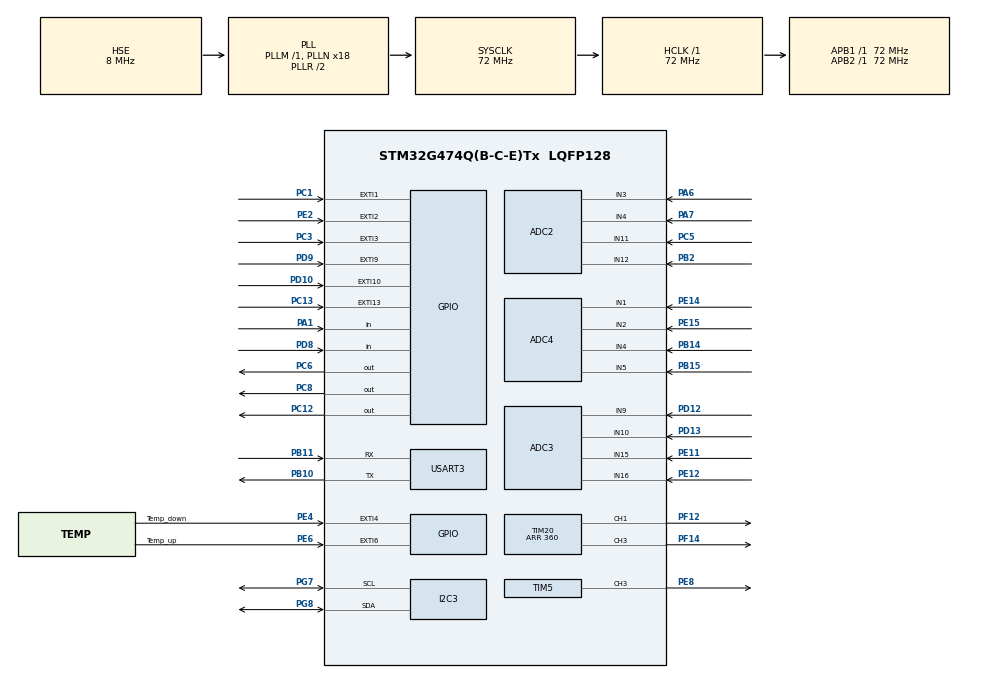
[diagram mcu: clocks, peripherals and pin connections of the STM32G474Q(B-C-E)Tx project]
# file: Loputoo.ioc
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ADC2.Channel-5\#ChannelRegularConversion=ADC_CHANNEL_11
ADC2.Channel-7\#ChannelRegularConversion=ADC_CHANNEL_3
ADC2.ContinuousConvMode=DISABLE
ADC2.DiscontinuousConvMode=ENABLE
ADC2.EnableRegularConversion=ENABLE
ADC2.NbrOfConversion=2
ADC2.NbrOfConversionFlag=1
ADC2.OffsetNumber-5\#ChannelRegularConversion=ADC_OFFSET_NONE
ADC2.OffsetNumber-7\#ChannelRegularConversion=ADC_OFFSET_NONE
ADC2.Rank-5\#ChannelRegularConversion=1
ADC2.Rank-7\#ChannelRegularConversion=2
ADC2.SamplingTime-5\#ChannelRegularConversion=ADC_SAMPLETIME_247CYCLES_5
ADC2.SamplingTime-7\#ChannelRegularConversion=ADC_SAMPLETIME_247CYCLES_5
ADC2.SingleDiff-5\#ChannelRegularConversion=ADC_DIFFERENTIAL_ENDED
ADC2.SingleDiff-7\#ChannelRegularConversion=ADC_DIFFERENTIAL_ENDED
ADC3.Channel-1\#ChannelRegularConversion=ADC_CHANNEL_15
ADC3.Channel-2\#ChannelRegularConversion=ADC_CHANNEL_15
ADC3.ContinuousConvMode=DISABLE
ADC3.DiscontinuousConvMode=ENABLE
ADC3.NbrOfConversion=2
ADC3.NbrOfConversionFlag=1
ADC3.OffsetNumber-1\#ChannelRegularConversion=ADC_OFFSET_NONE
ADC3.OffsetNumber-2\#ChannelRegularConversion=ADC_OFFSET_NONE
ADC3.Rank-1\#ChannelRegularConversion=1
ADC3.Rank-2\#ChannelRegularConversion=2
ADC3.SamplingTime-1\#ChannelRegularConversion=ADC_SAMPLETIME_247CYCLES_5
ADC3.SamplingTime-2\#ChannelRegularConversion=ADC_SAMPLETIME_247CYCLES_5
ADC3.SingleDiff-1\#ChannelRegularConversion=ADC_DIFFERENTIAL_ENDED
ADC3.SingleDiff-2\#ChannelRegularConversion=ADC_DIFFERENTIAL_ENDED
ADC3.master=1
ADC4.Channel-0\#ChannelRegularConversion=ADC_CHANNEL_1
ADC4.Channel-1\#ChannelRegularConversion=ADC_CHANNEL_4
ADC4.DiscontinuousConvMode=ENABLE
ADC4.NbrOfConversion=2
ADC4.NbrOfConversionFlag=1
ADC4.OffsetNumber-0\#ChannelRegularConversion=ADC_OFFSET_NONE
ADC4.OffsetNumber-1\#ChannelRegularConversion=ADC_OFFSET_NONE
ADC4.Rank-0\#ChannelRegularConversion=1
ADC4.Rank-1\#ChannelRegularConversion=2
ADC4.SamplingTime-0\#ChannelRegularConversion=ADC_SAMPLETIME_247CYCLES_5
ADC4.SamplingTime-1\#ChannelRegularConversion=ADC_SAMPLETIME_247CYCLES_5
ADC4.SingleDiff-0\#ChannelRegularConversion=ADC_DIFFERENTIAL_ENDED
ADC4.SingleDiff-1\#ChannelRegularConversion=ADC_DIFFERENTIAL_ENDED
I2C3.Timing=0x10C18DCC
Mcu.Family=STM32G4
Mcu.Name=STM32G474Q(B-C-E)Tx
Mcu.Package=LQFP128
NVIC.ADC1_2_IRQn=true\:0\:0\:false\:false\:true\:true\:true\:true
NVIC.EXTI15_10_IRQn=true\:0\:0\:false\:false\:true\:true\:true\:true
NVIC.EXTI2_IRQn=true\:0\:0\:false\:false\:true\:true\:true\:true
NVIC.EXTI4_IRQn=true\:0\:0\:false\:false\:true\:true\:true\:true
NVIC.EXTI9_5_IRQn=true\:0\:0\:false\:false\:true\:true\:true\:true
NVIC.PriorityGroup=NVIC_PRIORITYGROUP_4
NVIC.TIM3_IRQn=true\:0\:0\:false\:false\:true\:true\:true\:true
PA1.Signal=GPIO_Input
PA13.Mode=JTAG_5_pins
PA13.Signal=SYS_JTMS-SWDIO
PA14.Mode=JTAG_5_pins
PA14.Signal=SYS_JTCK-SWCLK
PA15.Mode=JTAG_5_pins
PA15.Signal=SYS_JTDI
PA6.Mode=IN3-Differential
PA6.Signal=ADC2_IN3
PA7.Mode=IN3-Differential
PA7.Signal=ADC2_IN4
PB10.Mode=Asynchronous
PB10.Signal=USART3_TX
PB11.Mode=Asynchronous
PB11.Signal=USART3_RX
PB14.Mode=IN4-Differential
PB14.Signal=ADC4_IN4
PB15.Mode=IN4-Differential
PB15.Signal=ADC4_IN5
PB2.Mode=IN11-Differential
PB2.Signal=ADC2_IN12
PB3.Mode=JTAG_5_pins
PB3.Signal=SYS_JTDO-SWO
PB4.Mode=JTAG_5_pins
PB4.Signal=SYS_JTRST
PB8-BOOT0.Signal=EVENTOUT
PC1.Signal=GPXTI1
PC12.Signal=GPIO_Output
PC13.Signal=GPXTI13
PC3.Signal=GPXTI3
PC5.Mode=IN11-Differential
PC5.Signal=ADC2_IN11
PC6.Signal=GPIO_Output
PC8.Signal=GPIO_Output
PD10.Signal=GPXTI10
PD12.Mode=IN9-Single-Ended
PD12.Signal=ADC3_IN9
PD13.Mode=IN10-Single-Ended
PD13.Signal=ADC3_IN10
PD8.Signal=GPIO_Input
PD9.Signal=GPXTI9
PE11.Mode=IN15-Differential
PE11.Signal=ADC3_IN15
PE12.Mode=IN15-Differential
PE12.Signal=ADC3_IN16
PE14.Mode=IN1-Differential
PE14.Signal=ADC4_IN1
PE15.Mode=IN1-Differential
PE15.Signal=ADC4_IN2
PE2.GPIO_ModeDefaultEXTI=GPIO_MODE_IT_FALLING
PE2.GPIO_PuPd=GPIO_NOPULL
PE2.Signal=GPXTI2
PE4.GPIO_Label=Temp_down
PE4.Signal=GPXTI4
PE6.GPIO_Label=Temp_up
PE6.Signal=GPXTI6
PE8.Signal=S_TIM5_CH3
PF0-OSC_IN.Mode=HSE-External-Oscillator
PF0-OSC_IN.Signal=RCC_OSC_IN
PF1-OSC_OUT.Mode=HSE-External-Oscillator
PF1-OSC_OUT.Signal=RCC_OSC_OUT
PF12.Signal=S_TIM20_CH1
PF14.Signal=S_TIM20_CH3
PG10-NRST.Signal=EVENTOUT
PG7.Mode=I2C
PG7.Signal=I2C3_SCL
PG8.Mode=I2C
PG8.Signal=I2C3_SDA
ProjectManager.HeapSize=0x200
ProjectManager.StackSize=0x400
ProjectManager.TargetToolchain=STM32CubeIDE
RCC.ADC12Freq_Value=72000000
RCC.ADC345Freq_Value=72000000
RCC.AHBFreq_Value=72000000
RCC.APB1Freq_Value=72000000
RCC.APB1TimFreq_Value=72000000
RCC.APB2Freq_Value=72000000
RCC.APB2TimFreq_Value=72000000
RCC.CortexFreq_Value=72000000
RCC.EXTERNAL_CLOCK_VALUE=12288000
RCC.HCLKFreq_Value=72000000
RCC.HSE_VALUE=8000000
RCC.HSI48_VALUE=48000000
RCC.HSI_VALUE=16000000
RCC.LSE_VALUE=32768
RCC.PLLN=18
RCC.PLLSourceVirtual=RCC_PLLSOURCE_HSE
RCC.SYSCLKFreq_VALUE=72000000
RCC.SYSCLKSource=RCC_SYSCLKSOURCE_PLLCLK
RCC.USBFreq_Value=72000000
RCC.VCOOutputFreq_Value=144000000
SH.S_TIM20_CH1.0=TIM20_CH1,PWM Generation1 CH1
SH.S_TIM20_CH3.0=TIM20_CH3,PWM Generation3 CH3
SH.S_TIM5_CH3.0=TIM5_CH3,PWM Generation3 CH3
TIM1.Prescaler=71
TIM20.Channel-PWM\ Generation1\ CH1=TIM_CHANNEL_1
TIM20.Channel-PWM\ Generation3\ CH3=TIM_CHANNEL_3
TIM20.CounterMode=TIM_COUNTERMODE_CENTERALIGNED3
TIM20.OCPolarity_3=TIM_OCPOLARITY_HIGH
TIM20.PeriodNoDither=360
TIM20.PulseNoDither_1=0
TIM20.PulseNoDither_3=0
TIM20.TIM_MasterOutputTrigger=TIM_TRGO_RESET
TIM20.TIM_MasterOutputTrigger2=TIM_TRGO2_RESET
TIM20.TIM_MasterSlaveMode=TIM_MASTERSLAVEMODE_DISABLE
TIM3.PeriodNoDither=7199
TIM3.Prescaler=999
TIM4.PeriodNoDither=35
TIM4.TIM_MasterSlaveMode=TIM_MASTERSLAVEMODE_ENABLE
TIM5.Channel-PWM\ Generation3\ CH3=TIM_CHANNEL_3
TIM5.CounterMode=TIM_COUNTERMODE_CENTERALIGNED3
TIM5.OCPolarity_3=TIM_OCPOLARITY_LOW
TIM5.PeriodNoDither=360
USART3.VirtualMode-Asynchronous=VM_ASYNC
VP_SYS_VS_DBSignals.Mode=DisableDeadBatterySignals
VP_TIM1_VS_ClockSourceINT.Mode=Internal
VP_TIM20_VS_ClockSourceINT.Mode=Internal
VP_TIM20_VS_ClockSourceITR.Mode=TriggerSource_ITR3
VP_TIM20_VS_ControllerModeTrigger.Mode=Trigger Mode
VP_TIM2_VS_ClockSourceINT.Mode=Internal
VP_TIM3_VS_ClockSourceINT.Mode=Internal
VP_TIM4_VS_ClockSourceINT.Mode=Internal
VP_TIM5_VS_ClockSourceINT.Mode=Internal
VP_TIM5_VS_ClockSourceITR.Mode=TriggerSource_ITR3
VP_TIM5_VS_ControllerModeTrigger.Mode=Trigger Mode
board=custom

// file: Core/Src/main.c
/* USER CODE BEGIN Header */
/**
  ******************************************************************************
  * @file           : main.c
  * @brief          : Main program body
  ******************************************************************************
  * @attention
  *
  * Copyright (c) 2025 STMicroelectronics.
  * All rights reserved.
  *
  * This software is licensed under terms that can be found in the LICENSE file
  * in the root directory of this software component.
  * If no LICENSE file comes with this software, it is provided AS-IS.
  *
  ******************************************************************************
  */
/* USER CODE END Header */
#include "main.h"

/* USER CODE BEGIN Includes */
#include <stdio.h>
#include <math.h>
#include "../../ECUAL/I2C_LCD/I2C_LCD.h"

#include <string.h>

/* USER CODE END Includes */

/* USER CODE BEGIN PTD */
enum KettleState {
	KETTLE_IDLE,
	KETTLE_TURN_ON,
	KETTLE_TURN_OFF,
	KETTLE_TEST
};

int setTemp = 85;

int dutyCycleFixedSSCB = 0;
int dutyCycleFixedHighSide = 0;
int dutyCycleFixedLowSide = 360;
uint16_t dutyCycleValue = 0;
int deadTimeARR = 0;
enum KettleState stateKettle = KETTLE_IDLE;
/* USER CODE END PTD */

/* USER CODE BEGIN PD */
#define MyI2C_LCD I2C_LCD_1
/* USER CODE END PD */

/* USER CODE BEGIN PM */
#define HALL_MAX_LEN 14
/* USER CODE END PM */

ADC_HandleTypeDef hadc2;
ADC_HandleTypeDef hadc3;
ADC_HandleTypeDef hadc4;

I2C_HandleTypeDef hi2c3;

TIM_HandleTypeDef htim1;
TIM_HandleTypeDef htim2;
TIM_HandleTypeDef htim3;
TIM_HandleTypeDef htim4;
TIM_HandleTypeDef htim5;
TIM_HandleTypeDef htim20;

UART_HandleTypeDef huart3;

void SystemClock_Config(void);
static void MX_GPIO_Init(void);
static void MX_ADC2_Init(void);
static void MX_ADC3_Init(void);
static void MX_ADC4_Init(void);
static void MX_TIM3_Init(void);
static void MX_TIM5_Init(void);
static void MX_TIM20_Init(void);
static void MX_TIM1_Init(void);
static void MX_I2C3_Init(void);
static void MX_USART3_UART_Init(void);
static void MX_TIM4_Init(void);
static void MX_TIM2_Init(void);

/* USER CODE BEGIN 0 */
void delay_us (uint16_t us)
{
	__HAL_TIM_SET_COUNTER(&htim1,0);  // set the counter value a 0
	while (__HAL_TIM_GET_COUNTER(&htim1) < us);  // wait for the counter to reach the us input in the parameter
}
/* USER CODE END 0 */

int main(void)
{

  /* USER CODE BEGIN 1 */

 uint16_t duty_c;
 uint16_t encADC2_1;
 uint16_t encADC2_2;

 uint16_t encADC3_1;
 uint16_t encADC3_2;

 uint16_t encADC4_1;
  uint16_t encADC4_2;

 char buffer1[HALL_MAX_LEN];
 char buffer2[HALL_MAX_LEN];

 char vDiv1Text[HALL_MAX_LEN];
 char vDiv2Text[HALL_MAX_LEN];
 char tempKettleText[HALL_MAX_LEN];
 char setTempText[HALL_MAX_LEN];

 char hall1Text[HALL_MAX_LEN];
 char hall2Text[HALL_MAX_LEN];
 float inputVoltage = 0;
 int counter = 1;

 float hall1CurrentValue = 0;
 float hall1CurrentTotal = 0;
 float hall1CurrentAverage = 0;

 float hall2CurrentValue = 0;
 float hall2CurrentTotal = 0;
 float hall2CurrentAverage = 0;

 float vDiv1Average = 0;
 float vDiv1Total = 0;

 float vDiv2Voltage = 0;
 float vDiv2VoltageTotal = 0;
 float vDiv2VoltageAverage = 0;

 //float vDiv3Voltage;
 //float vDiv3VoltageTotal = 0;
 //float vDiv3VoltageAverage = 0;

 float total = 0;
 float average = 0;

 int totalADC = 0;
 int averageADC = 0;

 float tempKettleSteinhart = 0;
 float tempKettle = 0;
 float resistanceKettle = 0;
 float thermistorVoltage = 0;
 float resistanceThermistor = 0;
 float outputVoltage = 0;

 float steinhartA = 1.086 * pow(10, -3);
 float steinhartB = 2.421 * pow(10, -4);
 float steinhartC = 0.495 * pow(10, -7);

 float dutyCyclePcnt = 0;

  /* USER CODE END 1 */

  /* MCU Configuration--------------------------------------------------------*/

  /* Reset of all peripherals, Initializes the Flash interface and the Systick. */
  HAL_Init();

  /* Configure the system clock */
  SystemClock_Config();

  /* Initialize all configured peripherals */
  MX_GPIO_Init();
  MX_ADC2_Init();
  MX_ADC3_Init();
  MX_ADC4_Init();
  MX_TIM3_Init();
  MX_TIM5_Init();
  MX_TIM20_Init();
  MX_TIM1_Init();
  MX_I2C3_Init();
  MX_USART3_UART_Init();
  MX_TIM4_Init();
  MX_TIM2_Init();
  I2C_LCD_Init(MyI2C_LCD);
  /* USER CODE BEGIN 2 */
  //HAL_ADC_Start_IT (&hadc1);

HAL_TIM_PWM_Start(&htim5, TIM_CHANNEL_3); // CONVERTER SECONDARY MOSFET PWM
HAL_TIM_PWM_Start(&htim20, TIM_CHANNEL_3); // CONVERTER MAIN MOSFET PWM
HAL_TIM_PWM_Start(&htim20, TIM_CHANNEL_1); //SSCB MOSFET PWM
HAL_TIM_Base_Start(&htim1);
HAL_TIM_Base_Start_IT(&htim3);

HAL_ADCEx_Calibration_Start(&hadc2, ADC_DIFFERENTIAL_ENDED);
HAL_ADCEx_Calibration_Start(&hadc3, ADC_DIFFERENTIAL_ENDED);
HAL_ADCEx_Calibration_Start(&hadc4, ADC_DIFFERENTIAL_ENDED);
  /* USER CODE END 2 */

  /* Infinite loop */
  /* USER CODE BEGIN WHILE */
  while (1)
  {

	  switch(stateKettle)
	  {
	  	  case(KETTLE_IDLE):
	  			I2C_LCD_Clear(MyI2C_LCD);
				HAL_Delay(200);

	  			sprintf(setTempText, "%d", setTemp);

	  			I2C_LCD_SetCursor(MyI2C_LCD, 0, 0);
	  			I2C_LCD_WriteString(MyI2C_LCD, "IDLE");

	  			I2C_LCD_SetCursor(MyI2C_LCD, 0, 1);
	  			I2C_LCD_WriteString(MyI2C_LCD, setTempText);

				HAL_Delay(200);
	  		  	break;

	  	  case(KETTLE_TURN_ON):

	  		  	I2C_LCD_Clear(MyI2C_LCD);
	  		  	I2C_LCD_SetCursor(MyI2C_LCD, 0, 1);
	  		  	I2C_LCD_WriteString(MyI2C_LCD, "TURN ON");

	  		  	HAL_GPIO_WritePin(GPIOC, GPIO_PIN_8, GPIO_PIN_SET);

			  	HAL_GPIO_WritePin(GPIOC, GPIO_PIN_6, GPIO_PIN_SET);
			  	// TURNS ON RELAY

			  	// 2 SECONDS FOR PRECHARGE
			  	HAL_Delay(2000);
	  			I2C_LCD_Clear(MyI2C_LCD);
			  	I2C_LCD_SetCursor(MyI2C_LCD, 0, 0);
			  	I2C_LCD_WriteString(MyI2C_LCD, "SSCB");

			  	HAL_GPIO_WritePin(GPIOC, GPIO_PIN_8, GPIO_PIN_RESET);
			  	dutyCycleFixedSSCB = 360;
			  	// TURNS ON SSCB MOSFET
			  	HAL_Delay(2000);

	  			I2C_LCD_Clear(MyI2C_LCD);
			  	I2C_LCD_SetCursor(MyI2C_LCD, 0, 0);
			  	I2C_LCD_WriteString(MyI2C_LCD, "RELOFF");

			  	HAL_GPIO_WritePin(GPIOC, GPIO_PIN_8, GPIO_PIN_SET);
			  	HAL_GPIO_WritePin(GPIOC, GPIO_PIN_6, GPIO_PIN_RESET);

			  	HAL_Delay(2000);

	  			I2C_LCD_Clear(MyI2C_LCD);
			  	I2C_LCD_SetCursor(MyI2C_LCD, 0, 0);
			  	I2C_LCD_WriteString(MyI2C_LCD, "GoTest1");
			  	HAL_GPIO_WritePin(GPIOC, GPIO_PIN_8, GPIO_PIN_RESET);

				deadTimeARR = 12;
				dutyCycleValue = 0;

				if(stateKettle != KETTLE_TURN_OFF)
				{
					stateKettle = KETTLE_TEST;
				}

				break;

	  	  case(KETTLE_TURN_OFF):
				if(dutyCycleValue > 360)
				{
					// PREVENTS DUTY CYCLE VALUE FROM BEING ABOVE MAX
					dutyCycleValue = 360;
				}
				while(dutyCycleValue > 0)
				{
					delay_us(10);

					// CYCLE FOR DECREASING DUTY CYCLE
					  if(dutyCycleValue > 0)
					  {
						  dutyCycleValue--;
					  }

					  // IF DUTY CYCLE IS 0, BREAK
					  else
					  {
						  break;
					  }

				  }

				  vDiv1Total = 0;
				  totalADC = 0;
				  total = 0;
				  counter = 1;
				  hall2CurrentTotal = 0;
				  hall1CurrentTotal = 0;
				  vDiv2VoltageTotal = 0;
				  dutyCycleFixedSSCB = 0;
				  stateKettle = KETTLE_IDLE;
				  break;

	  	  case(KETTLE_TEST):

					  // VOLTAGE CALCULATION FOR VDIV1
					  HAL_ADC_Start(&hadc2);
					  HAL_ADC_PollForConversion(&hadc2, 100);
					  encADC2_1 = HAL_ADC_GetValue(&hadc2);
					  HAL_ADC_Start(&hadc2);
					  HAL_ADC_PollForConversion(&hadc2, 100);
					  encADC2_2 = HAL_ADC_GetValue(&hadc2);
					  HAL_ADC_Stop(&hadc2);

					  inputVoltage = (((encADC2_1 - 2048) * 9) / 25.0f);
					  // CALCULATES INPUT VOLTAGE VALUE USING DIFF ADC INPUT
					  inputVoltage = inputVoltage + 0.05 * inputVoltage;
					  // VALUE CORRECTION
					  vDiv1Total = vDiv1Total + inputVoltage;
					  // INCREASES COUNTER FOR TOTAL VOLTAGE, USED FOR CALCULATING AVERAGE
					  if ((counter % 30) == 0)
					  {
						  vDiv1Average = vDiv1Total / 30.0f;
						  vDiv1Total = 0;

						  gcvt(vDiv1Average, 4, vDiv1Text);

						  if (vDiv1Average < 1)
						  {
							  dutyCycleValue = 360;
							  HAL_GPIO_TogglePin(GPIOC, GPIO_PIN_8);

						  }

						  else
						  {
							  dutyCycleValue = ((230 / vDiv1Average) * 360) * 1.1;
							  HAL_GPIO_TogglePin(GPIOC, GPIO_PIN_8);
						  }

					  }

				  	  // VOLTAGE CALCULATOR FOR VDIV2
				  	  HAL_ADC_Start(&hadc4);
				 	  HAL_ADC_PollForConversion(&hadc4, 100);
				 	  encADC4_1 = HAL_ADC_GetValue(&hadc4);
				 	  HAL_ADC_Start(&hadc4);
				 	  HAL_ADC_PollForConversion(&hadc4, 100);
				 	  encADC4_2 = HAL_ADC_GetValue(&hadc4);
				 	  HAL_ADC_Stop(&hadc4);

				  	  vDiv2Voltage = ((encADC4_1 - 2048) / 2048.0) * 3.3 * 2.5 * 61;
				  	  // CALCULATE VDIV2 VOLTAGE USING ADC INPUT
				  	  vDiv2VoltageTotal = vDiv2VoltageTotal + vDiv2Voltage;
				  	  if ((counter % 30) == 0)
				  		  {
				  			  vDiv2VoltageAverage = vDiv2VoltageTotal / 30.0f;
				  			  vDiv2VoltageTotal = 0;

				  			  sprintf(buffer1, "%d", encADC4_1);

				  			  gcvt(vDiv2VoltageAverage, 4, vDiv2Text);

				  		  }

				  	hall1CurrentValue = -0.029 * encADC2_2 + 29.6713;

				  	hall1CurrentTotal = hall1CurrentTotal + hall1CurrentValue;
				  	if ((counter % 30) == 0)
				  	{
				  		hall1CurrentAverage = hall1CurrentTotal / 30.0f;
				  		hall1CurrentTotal = 0;

				  				  		if (hall1CurrentAverage > 4)
				  				  		{

				  				  		  	stateKettle = KETTLE_TURN_OFF;
				  				  		  	counter = 1;
				  				  		  	break;
				  				  		}

				  		gcvt(hall1CurrentAverage, 3, hall1Text);

				  	}

				  	hall2CurrentValue = -0.0296 * encADC4_2 + 30.2033;
				  	hall2CurrentTotal = hall2CurrentTotal + hall2CurrentValue;
				  	if ((counter % 30) == 0)
				  	{
				  		hall2CurrentAverage = hall2CurrentTotal / 30.0f;
				  		hall2CurrentTotal = 0;

				  				  		if (hall2CurrentAverage > 7)
				  				  		{
				  				  			// IF KETTLE CURRENT IS ABOVE MAX VALUE, TURN OFF KETTLE

				  				  		  	stateKettle = KETTLE_TURN_OFF;
				  				  		  	counter = 1;
				  				  		  	// RESET COUNTER VALUE TO 1
				  							break;
				  				  		}

				  		gcvt(hall2CurrentAverage, 3, hall2Text);
				  	}

					  	HAL_ADC_Start(&hadc3);
					  	HAL_ADC_PollForConversion(&hadc3, 100);
					  	encADC3_1 = HAL_ADC_GetValue(&hadc3);
					  	HAL_ADC_Start(&hadc3);
					  	HAL_ADC_PollForConversion(&hadc3, 100);
					  	encADC3_2 = HAL_ADC_GetValue(&hadc3);
					  	HAL_ADC_Stop(&hadc3);

					  	// TEMP SENSOR CALCULATIONS
					  	outputVoltage = vDiv2VoltageAverage;
					  	//resistanceKettle = (1986 * 230 * 150) / ((encADC3_2 - 1986) * 3.3 * 2.5);
					  	thermistorVoltage = ((encADC3_2 - 2048.0) / 2048.0) * 3.3 * 2.5;
					  	resistanceThermistor = (thermistorVoltage * 585000) / (vDiv2VoltageAverage - thermistorVoltage);
					  	total = total + resistanceThermistor;

					  	totalADC = totalADC + encADC3_2;
					  	if ((counter % 30) == 0)
					  	{
					  		if(total < 0)
					  		{
					  			total = 0;
					  		}

					  		average = total / 30.0f;

					  		tempKettleSteinhart = 1 / (steinhartA + steinhartB * log(average) + steinhartC * pow(log(average), 3)) - 273;
					  		tempKettle = (-0.01584 * pow(tempKettleSteinhart, 2) + 3.279 * tempKettleSteinhart - 45.31);

					  		averageADC = totalADC / 30;
					  		sprintf(buffer2, "%d", encADC3_2);
					  		totalADC = 0;

					  		gcvt(tempKettle, 3, tempKettleText);
					  		total = 0;

					  		if(tempKettle >= setTemp && (hall2CurrentAverage >= 0.5))
					  		{
					  			stateKettle = KETTLE_TURN_OFF;
					  		}

					  	}

					  	if ((counter % 30) == 0)
					  	{
					  		gcvt(hall2CurrentAverage, 3, hall2Text);
					  				  		// CHANGE FLOAT TO CHAR FOR LCD PRINT
				  			I2C_LCD_Clear(MyI2C_LCD);
				  			  I2C_LCD_SetCursor(MyI2C_LCD, 0, 0);
				  			  I2C_LCD_WriteString(MyI2C_LCD, setTempText);
				  			  I2C_LCD_SetCursor(MyI2C_LCD, 8, 0);
				  			  I2C_LCD_WriteString(MyI2C_LCD, vDiv2Text);
				  			I2C_LCD_SetCursor(MyI2C_LCD, 0, 1);
				  			I2C_LCD_WriteString(MyI2C_LCD, tempKettleText);
				  			I2C_LCD_SetCursor(MyI2C_LCD, 8, 1);
				  			I2C_LCD_WriteString(MyI2C_LCD, hall2Text);

					  	}

					  counter++;
					  HAL_Delay(10);
				break;
	  	  }

    /* USER CODE END WHILE */

  }
}

void SystemClock_Config(void)
{
  RCC_OscInitTypeDef RCC_OscInitStruct = {0};
  RCC_ClkInitTypeDef RCC_ClkInitStruct = {0};

  /** Configure the main internal regulator output voltage
  */
  HAL_PWREx_ControlVoltageScaling(PWR_REGULATOR_VOLTAGE_SCALE1);

  /** Initializes the RCC Oscillators according to the specified parameters
  * in the RCC_OscInitTypeDef structure.
  */
  RCC_OscInitStruct.OscillatorType = RCC_OSCILLATORTYPE_HSE;
  RCC_OscInitStruct.HSEState = RCC_HSE_ON;
  RCC_OscInitStruct.PLL.PLLState = RCC_PLL_ON;
  RCC_OscInitStruct.PLL.PLLSource = RCC_PLLSOURCE_HSE;
  RCC_OscInitStruct.PLL.PLLM = RCC_PLLM_DIV1;
  RCC_OscInitStruct.PLL.PLLN = 18;
  RCC_OscInitStruct.PLL.PLLP = RCC_PLLP_DIV2;
  RCC_OscInitStruct.PLL.PLLQ = RCC_PLLQ_DIV2;
  RCC_OscInitStruct.PLL.PLLR = RCC_PLLR_DIV2;
  if (HAL_RCC_OscConfig(&RCC_OscInitStruct) != HAL_OK)
  {
    Error_Handler();
  }

  /** Initializes the CPU, AHB and APB buses clocks
  */
  RCC_ClkInitStruct.ClockType = RCC_CLOCKTYPE_HCLK|RCC_CLOCKTYPE_SYSCLK
                              |RCC_CLOCKTYPE_PCLK1|RCC_CLOCKTYPE_PCLK2;
  RCC_ClkInitStruct.SYSCLKSource = RCC_SYSCLKSOURCE_PLLCLK;
  RCC_ClkInitStruct.AHBCLKDivider = RCC_SYSCLK_DIV1;
  RCC_ClkInitStruct.APB1CLKDivider = RCC_HCLK_DIV1;
  RCC_ClkInitStruct.APB2CLKDivider = RCC_HCLK_DIV1;

  if (HAL_RCC_ClockConfig(&RCC_ClkInitStruct, FLASH_LATENCY_2) != HAL_OK)
  {
    Error_Handler();
  }
}

static void MX_ADC2_Init(void)
{

  ADC_ChannelConfTypeDef sConfig = {0};

  /** Common config
  */
  hadc2.Instance = ADC2;
  hadc2.Init.ClockPrescaler = ADC_CLOCK_SYNC_PCLK_DIV2;
  hadc2.Init.Resolution = ADC_RESOLUTION_12B;
  hadc2.Init.DataAlign = ADC_DATAALIGN_RIGHT;
  hadc2.Init.GainCompensation = 0;
  hadc2.Init.ScanConvMode = ADC_SCAN_ENABLE;
  hadc2.Init.EOCSelection = ADC_EOC_SINGLE_CONV;
  hadc2.Init.LowPowerAutoWait = DISABLE;
  hadc2.Init.ContinuousConvMode = DISABLE;
  hadc2.Init.NbrOfConversion = 2;
  hadc2.Init.DiscontinuousConvMode = ENABLE;
  hadc2.Init.NbrOfDiscConversion = 1;
  hadc2.Init.ExternalTrigConv = ADC_SOFTWARE_START;
  hadc2.Init.ExternalTrigConvEdge = ADC_EXTERNALTRIGCONVEDGE_NONE;
  hadc2.Init.DMAContinuousRequests = DISABLE;
  hadc2.Init.Overrun = ADC_OVR_DATA_PRESERVED;
  hadc2.Init.OversamplingMode = DISABLE;
  if (HAL_ADC_Init(&hadc2) != HAL_OK)
  {
    Error_Handler();
  }

  /** Configure Regular Channel
  */
  sConfig.Channel = ADC_CHANNEL_11;
  sConfig.Rank = ADC_REGULAR_RANK_1;
  sConfig.SamplingTime = ADC_SAMPLETIME_247CYCLES_5;
  sConfig.SingleDiff = ADC_DIFFERENTIAL_ENDED;
  sConfig.OffsetNumber = ADC_OFFSET_NONE;
  sConfig.Offset = 0;
  if (HAL_ADC_ConfigChannel(&hadc2, &sConfig) != HAL_OK)
  {
    Error_Handler();
  }

  /** Configure Regular Channel
  */
  sConfig.Channel = ADC_CHANNEL_3;
  sConfig.Rank = ADC_REGULAR_RANK_2;
  if (HAL_ADC_ConfigChannel(&hadc2, &sConfig) != HAL_OK)
  {
    Error_Handler();
  }

}

static void MX_ADC3_Init(void)
{

  ADC_MultiModeTypeDef multimode = {0};
  ADC_ChannelConfTypeDef sConfig = {0};

  /** Common config
  */
  hadc3.Instance = ADC3;
  hadc3.Init.ClockPrescaler = ADC_CLOCK_SYNC_PCLK_DIV2;
  hadc3.Init.Resolution = ADC_RESOLUTION_12B;
  hadc3.Init.DataAlign = ADC_DATAALIGN_RIGHT;
  hadc3.Init.GainCompensation = 0;
  hadc3.Init.ScanConvMode = ADC_SCAN_ENABLE;
  hadc3.Init.EOCSelection = ADC_EOC_SINGLE_CONV;
  hadc3.Init.LowPowerAutoWait = DISABLE;
  hadc3.Init.ContinuousConvMode = DISABLE;
  hadc3.Init.NbrOfConversion = 2;
  hadc3.Init.DiscontinuousConvMode = ENABLE;
  hadc3.Init.NbrOfDiscConversion = 1;
  hadc3.Init.ExternalTrigConv = ADC_SOFTWARE_START;
  hadc3.Init.ExternalTrigConvEdge = ADC_EXTERNALTRIGCONVEDGE_NONE;
  hadc3.Init.DMAContinuousRequests = DISABLE;
  hadc3.Init.Overrun = ADC_OVR_DATA_PRESERVED;
  hadc3.Init.OversamplingMode = DISABLE;
  if (HAL_ADC_Init(&hadc3) != HAL_OK)
  {
    Error_Handler();
  }

  /** Configure the ADC multi-mode
  */
  multimode.Mode = ADC_MODE_INDEPENDENT;
  if (HAL_ADCEx_MultiModeConfigChannel(&hadc3, &multimode) != HAL_OK)
  {
    Error_Handler();
  }

  /** Configure Regular Channel
  */
  sConfig.Channel = ADC_CHANNEL_15;
  sConfig.Rank = ADC_REGULAR_RANK_1;
  sConfig.SamplingTime = ADC_SAMPLETIME_247CYCLES_5;
  sConfig.SingleDiff = ADC_DIFFERENTIAL_ENDED;
  sConfig.OffsetNumber = ADC_OFFSET_NONE;
  sConfig.Offset = 0;
  if (HAL_ADC_ConfigChannel(&hadc3, &sConfig) != HAL_OK)
  {
    Error_Handler();
  }

  /** Configure Regular Channel
  */
  sConfig.Rank = ADC_REGULAR_RANK_2;
  if (HAL_ADC_ConfigChannel(&hadc3, &sConfig) != HAL_OK)
  {
    Error_Handler();
  }

}

static void MX_ADC4_Init(void)
{

  ADC_ChannelConfTypeDef sConfig = {0};

  /** Common config
  */
  hadc4.Instance = ADC4;
  hadc4.Init.ClockPrescaler = ADC_CLOCK_SYNC_PCLK_DIV2;
  hadc4.Init.Resolution = ADC_RESOLUTION_12B;
  hadc4.Init.DataAlign = ADC_DATAALIGN_RIGHT;
  hadc4.Init.GainCompensation = 0;
  hadc4.Init.ScanConvMode = ADC_SCAN_ENABLE;
  hadc4.Init.EOCSelection = ADC_EOC_SINGLE_CONV;
  hadc4.Init.LowPowerAutoWait = DISABLE;
  hadc4.Init.ContinuousConvMode = DISABLE;
  hadc4.Init.NbrOfConversion = 2;
  hadc4.Init.DiscontinuousConvMode = ENABLE;
  hadc4.Init.NbrOfDiscConversion = 1;
  hadc4.Init.ExternalTrigConv = ADC_SOFTWARE_START;
  hadc4.Init.ExternalTrigConvEdge = ADC_EXTERNALTRIGCONVEDGE_NONE;
  hadc4.Init.DMAContinuousRequests = DISABLE;
  hadc4.Init.Overrun = ADC_OVR_DATA_PRESERVED;
  hadc4.Init.OversamplingMode = DISABLE;
  if (HAL_ADC_Init(&hadc4) != HAL_OK)
  {
    Error_Handler();
  }

  /** Configure Regular Channel
  */
  sConfig.Channel = ADC_CHANNEL_1;
  sConfig.Rank = ADC_REGULAR_RANK_1;
  sConfig.SamplingTime = ADC_SAMPLETIME_247CYCLES_5;
  sConfig.SingleDiff = ADC_DIFFERENTIAL_ENDED;
  sConfig.OffsetNumber = ADC_OFFSET_NONE;
  sConfig.Offset = 0;
  if (HAL_ADC_ConfigChannel(&hadc4, &sConfig) != HAL_OK)
  {
    Error_Handler();
  }

  /** Configure Regular Channel
  */
  sConfig.Channel = ADC_CHANNEL_4;
  sConfig.Rank = ADC_REGULAR_RANK_2;
  if (HAL_ADC_ConfigChannel(&hadc4, &sConfig) != HAL_OK)
  {
    Error_Handler();
  }

}

static void MX_I2C3_Init(void)
{

  hi2c3.Instance = I2C3;
  hi2c3.Init.Timing = 0x10C18DCC;
  hi2c3.Init.OwnAddress1 = 0;
  hi2c3.Init.AddressingMode = I2C_ADDRESSINGMODE_7BIT;
  hi2c3.Init.DualAddressMode = I2C_DUALADDRESS_DISABLE;
  hi2c3.Init.OwnAddress2 = 0;
  hi2c3.Init.OwnAddress2Masks = I2C_OA2_NOMASK;
  hi2c3.Init.GeneralCallMode = I2C_GENERALCALL_DISABLE;
  hi2c3.Init.NoStretchMode = I2C_NOSTRETCH_DISABLE;
  if (HAL_I2C_Init(&hi2c3) != HAL_OK)
  {
    Error_Handler();
  }

  /** Configure Analogue filter
  */
  if (HAL_I2CEx_ConfigAnalogFilter(&hi2c3, I2C_ANALOGFILTER_ENABLE) != HAL_OK)
  {
    Error_Handler();
  }

  /** Configure Digital filter
  */
  if (HAL_I2CEx_ConfigDigitalFilter(&hi2c3, 0) != HAL_OK)
  {
    Error_Handler();
  }

}

static void MX_TIM1_Init(void)
{

  TIM_ClockConfigTypeDef sClockSourceConfig = {0};
  TIM_MasterConfigTypeDef sMasterConfig = {0};

  htim1.Instance = TIM1;
  htim1.Init.Prescaler = 71;
  htim1.Init.CounterMode = TIM_COUNTERMODE_UP;
  htim1.Init.Period = 65535;
  htim1.Init.ClockDivision = TIM_CLOCKDIVISION_DIV1;
  htim1.Init.RepetitionCounter = 0;
  htim1.Init.AutoReloadPreload = TIM_AUTORELOAD_PRELOAD_DISABLE;
  if (HAL_TIM_Base_Init(&htim1) != HAL_OK)
  {
    Error_Handler();
  }
  sClockSourceConfig.ClockSource = TIM_CLOCKSOURCE_INTERNAL;
  if (HAL_TIM_ConfigClockSource(&htim1, &sClockSourceConfig) != HAL_OK)
  {
    Error_Handler();
  }
  sMasterConfig.MasterOutputTrigger = TIM_TRGO_RESET;
  sMasterConfig.MasterOutputTrigger2 = TIM_TRGO2_RESET;
  sMasterConfig.MasterSlaveMode = TIM_MASTERSLAVEMODE_DISABLE;
  if (HAL_TIMEx_MasterConfigSynchronization(&htim1, &sMasterConfig) != HAL_OK)
  {
    Error_Handler();
  }

}

static void MX_TIM2_Init(void)
{

  TIM_ClockConfigTypeDef sClockSourceConfig = {0};
  TIM_MasterConfigTypeDef sMasterConfig = {0};

  htim2.Instance = TIM2;
  htim2.Init.Prescaler = 0;
  htim2.Init.CounterMode = TIM_COUNTERMODE_UP;
  htim2.Init.Period = 4294967295;
  htim2.Init.ClockDivision = TIM_CLOCKDIVISION_DIV1;
  htim2.Init.AutoReloadPreload = TIM_AUTORELOAD_PRELOAD_DISABLE;
  if (HAL_TIM_Base_Init(&htim2) != HAL_OK)
  {
    Error_Handler();
  }
  sClockSourceConfig.ClockSource = TIM_CLOCKSOURCE_INTERNAL;
  if (HAL_TIM_ConfigClockSource(&htim2, &sClockSourceConfig) != HAL_OK)
  {
    Error_Handler();
  }
  sMasterConfig.MasterOutputTrigger = TIM_TRGO_RESET;
  sMasterConfig.MasterSlaveMode = TIM_MASTERSLAVEMODE_DISABLE;
  if (HAL_TIMEx_MasterConfigSynchronization(&htim2, &sMasterConfig) != HAL_OK)
  {
    Error_Handler();
  }

}

static void MX_TIM3_Init(void)
{

  TIM_ClockConfigTypeDef sClockSourceConfig = {0};
  TIM_MasterConfigTypeDef sMasterConfig = {0};

  htim3.Instance = TIM3;
  htim3.Init.Prescaler = 999;
  htim3.Init.CounterMode = TIM_COUNTERMODE_UP;
  htim3.Init.Period = 7199;
  htim3.Init.ClockDivision = TIM_CLOCKDIVISION_DIV1;
  htim3.Init.AutoReloadPreload = TIM_AUTORELOAD_PRELOAD_DISABLE;
  if (HAL_TIM_Base_Init(&htim3) != HAL_OK)
  {
    Error_Handler();
  }
  sClockSourceConfig.ClockSource = TIM_CLOCKSOURCE_INTERNAL;
  if (HAL_TIM_ConfigClockSource(&htim3, &sClockSourceConfig) != HAL_OK)
  {
    Error_Handler();
  }
  sMasterConfig.MasterOutputTrigger = TIM_TRGO_RESET;
  sMasterConfig.MasterSlaveMode = TIM_MASTERSLAVEMODE_DISABLE;
  if (HAL_TIMEx_MasterConfigSynchronization(&htim3, &sMasterConfig) != HAL_OK)
  {
    Error_Handler();
  }

}

static void MX_TIM4_Init(void)
{

  TIM_ClockConfigTypeDef sClockSourceConfig = {0};
  TIM_MasterConfigTypeDef sMasterConfig = {0};

  htim4.Instance = TIM4;
  htim4.Init.Prescaler = 0;
  htim4.Init.CounterMode = TIM_COUNTERMODE_UP;
  htim4.Init.Period = 35;
  htim4.Init.ClockDivision = TIM_CLOCKDIVISION_DIV1;
  htim4.Init.AutoReloadPreload = TIM_AUTORELOAD_PRELOAD_DISABLE;
  if (HAL_TIM_Base_Init(&htim4) != HAL_OK)
  {
    Error_Handler();
  }
  sClockSourceConfig.ClockSource = TIM_CLOCKSOURCE_INTERNAL;
  if (HAL_TIM_ConfigClockSource(&htim4, &sClockSourceConfig) != HAL_OK)
  {
    Error_Handler();
  }
  sMasterConfig.MasterOutputTrigger = TIM_TRGO_RESET;
  sMasterConfig.MasterSlaveMode = TIM_MASTERSLAVEMODE_ENABLE;
  if (HAL_TIMEx_MasterConfigSynchronization(&htim4, &sMasterConfig) != HAL_OK)
  {
    Error_Handler();
  }

}

static void MX_TIM5_Init(void)
{

  TIM_ClockConfigTypeDef sClockSourceConfig = {0};
  TIM_SlaveConfigTypeDef sSlaveConfig = {0};
  TIM_MasterConfigTypeDef sMasterConfig = {0};
  TIM_OC_InitTypeDef sConfigOC = {0};

  htim5.Instance = TIM5;
  htim5.Init.Prescaler = 0;
  htim5.Init.CounterMode = TIM_COUNTERMODE_CENTERALIGNED3;
  htim5.Init.Period = 360;
  htim5.Init.ClockDivision = TIM_CLOCKDIVISION_DIV1;
  htim5.Init.AutoReloadPreload = TIM_AUTORELOAD_PRELOAD_DISABLE;
  if (HAL_TIM_Base_Init(&htim5) != HAL_OK)
  {
    Error_Handler();
  }
  sClockSourceConfig.ClockSource = TIM_CLOCKSOURCE_INTERNAL;
  if (HAL_TIM_ConfigClockSource(&htim5, &sClockSourceConfig) != HAL_OK)
  {
    Error_Handler();
  }
  if (HAL_TIM_PWM_Init(&htim5) != HAL_OK)
  {
    Error_Handler();
  }
  sSlaveConfig.SlaveMode = TIM_SLAVEMODE_TRIGGER;
  sSlaveConfig.InputTrigger = TIM_TS_ITR3;
  if (HAL_TIM_SlaveConfigSynchro(&htim5, &sSlaveConfig) != HAL_OK)
  {
    Error_Handler();
  }
  sMasterConfig.MasterOutputTrigger = TIM_TRGO_RESET;
  sMasterConfig.MasterSlaveMode = TIM_MASTERSLAVEMODE_DISABLE;
  if (HAL_TIMEx_MasterConfigSynchronization(&htim5, &sMasterConfig) != HAL_OK)
  {
    Error_Handler();
  }
  sConfigOC.OCMode = TIM_OCMODE_PWM1;
  sConfigOC.Pulse = 0;
  sConfigOC.OCPolarity = TIM_OCPOLARITY_LOW;
  sConfigOC.OCFastMode = TIM_OCFAST_DISABLE;
  if (HAL_TIM_PWM_ConfigChannel(&htim5, &sConfigOC, TIM_CHANNEL_3) != HAL_OK)
  {
    Error_Handler();
  }
  HAL_TIM_MspPostInit(&htim5);

}

static void MX_TIM20_Init(void)
{

  TIM_ClockConfigTypeDef sClockSourceConfig = {0};
  TIM_SlaveConfigTypeDef sSlaveConfig = {0};
  TIM_MasterConfigTypeDef sMasterConfig = {0};
  TIM_OC_InitTypeDef sConfigOC = {0};
  TIM_BreakDeadTimeConfigTypeDef sBreakDeadTimeConfig = {0};

  htim20.Instance = TIM20;
  htim20.Init.Prescaler = 0;
  htim20.Init.CounterMode = TIM_COUNTERMODE_CENTERALIGNED3;
  htim20.Init.Period = 360;
  htim20.Init.ClockDivision = TIM_CLOCKDIVISION_DIV1;
  htim20.Init.RepetitionCounter = 0;
  htim20.Init.AutoReloadPreload = TIM_AUTORELOAD_PRELOAD_DISABLE;
  if (HAL_TIM_Base_Init(&htim20) != HAL_OK)
  {
    Error_Handler();
  }
  sClockSourceConfig.ClockSource = TIM_CLOCKSOURCE_INTERNAL;
  if (HAL_TIM_ConfigClockSource(&htim20, &sClockSourceConfig) != HAL_OK)
  {
    Error_Handler();
  }
  if (HAL_TIM_PWM_Init(&htim20) != HAL_OK)
  {
    Error_Handler();
  }
  sSlaveConfig.SlaveMode = TIM_SLAVEMODE_TRIGGER;
  sSlaveConfig.InputTrigger = TIM_TS_ITR3;
  if (HAL_TIM_SlaveConfigSynchro(&htim20, &sSlaveConfig) != HAL_OK)
  {
    Error_Handler();
  }
  sMasterConfig.MasterOutputTrigger = TIM_TRGO_RESET;
  sMasterConfig.MasterOutputTrigger2 = TIM_TRGO2_RESET;
  sMasterConfig.MasterSlaveMode = TIM_MASTERSLAVEMODE_DISABLE;
  if (HAL_TIMEx_MasterConfigSynchronization(&htim20, &sMasterConfig) != HAL_OK)
  {
    Error_Handler();
  }
  sConfigOC.OCMode = TIM_OCMODE_PWM1;
  sConfigOC.Pulse = 0;
  sConfigOC.OCPolarity = TIM_OCPOLARITY_HIGH;
  sConfigOC.OCNPolarity = TIM_OCNPOLARITY_HIGH;
  sConfigOC.OCFastMode = TIM_OCFAST_DISABLE;
  sConfigOC.OCIdleState = TIM_OCIDLESTATE_RESET;
  sConfigOC.OCNIdleState = TIM_OCNIDLESTATE_RESET;
  if (HAL_TIM_PWM_ConfigChannel(&htim20, &sConfigOC, TIM_CHANNEL_1) != HAL_OK)
  {
    Error_Handler();
  }
  if (HAL_TIM_PWM_ConfigChannel(&htim20, &sConfigOC, TIM_CHANNEL_3) != HAL_OK)
  {
    Error_Handler();
  }
  sBreakDeadTimeConfig.OffStateRunMode = TIM_OSSR_DISABLE;
  sBreakDeadTimeConfig.OffStateIDLEMode = TIM_OSSI_DISABLE;
  sBreakDeadTimeConfig.LockLevel = TIM_LOCKLEVEL_OFF;
  sBreakDeadTimeConfig.DeadTime = 0;
  sBreakDeadTimeConfig.BreakState = TIM_BREAK_DISABLE;
  sBreakDeadTimeConfig.BreakPolarity = TIM_BREAKPOLARITY_HIGH;
  sBreakDeadTimeConfig.BreakFilter = 0;
  sBreakDeadTimeConfig.BreakAFMode = TIM_BREAK_AFMODE_INPUT;
  sBreakDeadTimeConfig.Break2State = TIM_BREAK2_DISABLE;
  sBreakDeadTimeConfig.Break2Polarity = TIM_BREAK2POLARITY_HIGH;
  sBreakDeadTimeConfig.Break2Filter = 0;
  sBreakDeadTimeConfig.Break2AFMode = TIM_BREAK_AFMODE_INPUT;
  sBreakDeadTimeConfig.AutomaticOutput = TIM_AUTOMATICOUTPUT_DISABLE;
  if (HAL_TIMEx_ConfigBreakDeadTime(&htim20, &sBreakDeadTimeConfig) != HAL_OK)
  {
    Error_Handler();
  }
  HAL_TIM_MspPostInit(&htim20);

}

static void MX_USART3_UART_Init(void)
{

  huart3.Instance = USART3;
  huart3.Init.BaudRate = 115200;
  huart3.Init.WordLength = UART_WORDLENGTH_8B;
  huart3.Init.StopBits = UART_STOPBITS_1;
  huart3.Init.Parity = UART_PARITY_NONE;
  huart3.Init.Mode = UART_MODE_TX_RX;
  huart3.Init.HwFlowCtl = UART_HWCONTROL_NONE;
  huart3.Init.OverSampling = UART_OVERSAMPLING_16;
  huart3.Init.OneBitSampling = UART_ONE_BIT_SAMPLE_DISABLE;
  huart3.Init.ClockPrescaler = UART_PRESCALER_DIV1;
  huart3.AdvancedInit.AdvFeatureInit = UART_ADVFEATURE_NO_INIT;
  if (HAL_UART_Init(&huart3) != HAL_OK)
  {
    Error_Handler();
  }
  if (HAL_UARTEx_SetTxFifoThreshold(&huart3, UART_TXFIFO_THRESHOLD_1_8) != HAL_OK)
  {
    Error_Handler();
  }
  if (HAL_UARTEx_SetRxFifoThreshold(&huart3, UART_RXFIFO_THRESHOLD_1_8) != HAL_OK)
  {
    Error_Handler();
  }
  if (HAL_UARTEx_DisableFifoMode(&huart3) != HAL_OK)
  {
    Error_Handler();
  }

}

static void MX_GPIO_Init(void)
{
  GPIO_InitTypeDef GPIO_InitStruct = {0};

  /* GPIO Ports Clock Enable */
  __HAL_RCC_GPIOE_CLK_ENABLE();
  __HAL_RCC_GPIOC_CLK_ENABLE();
  __HAL_RCC_GPIOF_CLK_ENABLE();
  __HAL_RCC_GPIOG_CLK_ENABLE();
  __HAL_RCC_GPIOA_CLK_ENABLE();
  __HAL_RCC_GPIOB_CLK_ENABLE();
  __HAL_RCC_GPIOD_CLK_ENABLE();

  /*Configure GPIO pin Output Level */
  HAL_GPIO_WritePin(GPIOC, GPIO_PIN_6|GPIO_PIN_8|GPIO_PIN_12, GPIO_PIN_RESET);

  /*Configure GPIO pin : PE2 */
  GPIO_InitStruct.Pin = GPIO_PIN_2;
  GPIO_InitStruct.Mode = GPIO_MODE_IT_FALLING;
  GPIO_InitStruct.Pull = GPIO_NOPULL;
  HAL_GPIO_Init(GPIOE, &GPIO_InitStruct);

  /*Configure GPIO pins : Temp_down_Pin Temp_up_Pin */
  GPIO_InitStruct.Pin = Temp_down_Pin|Temp_up_Pin;
  GPIO_InitStruct.Mode = GPIO_MODE_IT_RISING;
  GPIO_InitStruct.Pull = GPIO_NOPULL;
  HAL_GPIO_Init(GPIOE, &GPIO_InitStruct);

  /*Configure GPIO pins : PC13 PC1 PC3 */
  GPIO_InitStruct.Pin = GPIO_PIN_13|GPIO_PIN_1|GPIO_PIN_3;
  GPIO_InitStruct.Mode = GPIO_MODE_IT_RISING;
  GPIO_InitStruct.Pull = GPIO_NOPULL;
  HAL_GPIO_Init(GPIOC, &GPIO_InitStruct);

  /*Configure GPIO pin : PG10 */
  GPIO_InitStruct.Pin = GPIO_PIN_10;
  GPIO_InitStruct.Mode = GPIO_MODE_AF_PP;
  GPIO_InitStruct.Pull = GPIO_NOPULL;
  GPIO_InitStruct.Speed = GPIO_SPEED_FREQ_LOW;
  GPIO_InitStruct.Alternate = GPIO_AF15_EVENTOUT;
  HAL_GPIO_Init(GPIOG, &GPIO_InitStruct);

  /*Configure GPIO pin : PA1 */
  GPIO_InitStruct.Pin = GPIO_PIN_1;
  GPIO_InitStruct.Mode = GPIO_MODE_INPUT;
  GPIO_InitStruct.Pull = GPIO_NOPULL;
  HAL_GPIO_Init(GPIOA, &GPIO_InitStruct);

  /*Configure GPIO pin : PD8 */
  GPIO_InitStruct.Pin = GPIO_PIN_8;
  GPIO_InitStruct.Mode = GPIO_MODE_INPUT;
  GPIO_InitStruct.Pull = GPIO_NOPULL;
  HAL_GPIO_Init(GPIOD, &GPIO_InitStruct);

  /*Configure GPIO pins : PD9 PD10 */
  GPIO_InitStruct.Pin = GPIO_PIN_9|GPIO_PIN_10;
  GPIO_InitStruct.Mode = GPIO_MODE_IT_RISING;
  GPIO_InitStruct.Pull = GPIO_NOPULL;
  HAL_GPIO_Init(GPIOD, &GPIO_InitStruct);

  /*Configure GPIO pins : PC6 PC8 PC12 */
  GPIO_InitStruct.Pin = GPIO_PIN_6|GPIO_PIN_8|GPIO_PIN_12;
  GPIO_InitStruct.Mode = GPIO_MODE_OUTPUT_PP;
  GPIO_InitStruct.Pull = GPIO_NOPULL;
  GPIO_InitStruct.Speed = GPIO_SPEED_FREQ_LOW;
  HAL_GPIO_Init(GPIOC, &GPIO_InitStruct);

  /*Configure GPIO pin : PB8 */
  GPIO_InitStruct.Pin = GPIO_PIN_8;
  GPIO_InitStruct.Mode = GPIO_MODE_AF_PP;
  GPIO_InitStruct.Pull = GPIO_NOPULL;
  GPIO_InitStruct.Speed = GPIO_SPEED_FREQ_LOW;
  GPIO_InitStruct.Alternate = GPIO_AF15_EVENTOUT;
  HAL_GPIO_Init(GPIOB, &GPIO_InitStruct);

  /* EXTI interrupt init*/
  HAL_NVIC_SetPriority(EXTI2_IRQn, 0, 0);
  HAL_NVIC_EnableIRQ(EXTI2_IRQn);

  HAL_NVIC_SetPriority(EXTI4_IRQn, 0, 0);
  HAL_NVIC_EnableIRQ(EXTI4_IRQn);

  HAL_NVIC_SetPriority(EXTI9_5_IRQn, 0, 0);
  HAL_NVIC_EnableIRQ(EXTI9_5_IRQn);

  HAL_NVIC_SetPriority(EXTI15_10_IRQn, 0, 0);
  HAL_NVIC_EnableIRQ(EXTI15_10_IRQn);

}

/* USER CODE BEGIN 4 */
void HAL_GPIO_EXTI_Callback(uint16_t GPIO_Pin)
{
  if(GPIO_Pin == GPIO_PIN_6)
  {
	  setTemp--;
	  if(setTemp <= 20)
	  {
		  setTemp = 20;
	  }
  }
  if (GPIO_Pin == GPIO_PIN_4)
  {
	  setTemp++;
	  if(setTemp > 100)
	  {
		  setTemp = 100;
	  }
  }
  if ((GPIO_Pin == GPIO_PIN_13) && HAL_GPIO_ReadPin(GPIOE, GPIO_PIN_2))
  {
  	  if(stateKettle == KETTLE_IDLE)
  	  {
  		  stateKettle = KETTLE_TURN_ON;
  	  }
/*
  	  if(stateKettle == KETTLE_TURN_ON)
  	  {
  		  stateKettle = KETTLE_IDLE;
		  HAL_GPIO_WritePin(GPIOC, GPIO_PIN_6, GPIO_PIN_RESET);
		  dutyCycleFixedSSCB = 0;
  	  }
*/
  	  else if((stateKettle == KETTLE_TEST) || (stateKettle == KETTLE_TURN_ON))
  	  {
  		  stateKettle = KETTLE_TURN_OFF;
  	  }
    }

  if(GPIO_Pin == GPIO_PIN_2)
    {
  	  stateKettle = KETTLE_TURN_OFF;
    }

}

// Callback: timer has rolled over
void HAL_TIM_PeriodElapsedCallback(TIM_HandleTypeDef *htim)
{
  // Check which version of the timer triggered this callback and set duty cycle
  if (htim == &htim3)
  {

	  if((stateKettle == KETTLE_TURN_ON) || (stateKettle == KETTLE_IDLE))
	  {
		  __HAL_TIM_SET_COMPARE(&htim20, TIM_CHANNEL_1, dutyCycleFixedSSCB);
		  __HAL_TIM_SET_COMPARE(&htim20, TIM_CHANNEL_3, dutyCycleFixedHighSide);
		  __HAL_TIM_SET_COMPARE(&htim5, TIM_CHANNEL_3, dutyCycleFixedLowSide);
	  }

	  else
	  {
		  if(dutyCycleValue >= 330)
		  {
			  __HAL_TIM_SET_COMPARE(&htim20, TIM_CHANNEL_1, dutyCycleFixedSSCB);
			  __HAL_TIM_SET_COMPARE(&htim20, TIM_CHANNEL_3, 360);
			  __HAL_TIM_SET_COMPARE(&htim5, TIM_CHANNEL_3, 360);
		  }

		  else if(dutyCycleValue <= 30)
		  {
			  __HAL_TIM_SET_COMPARE(&htim20, TIM_CHANNEL_1, dutyCycleFixedSSCB);
			  __HAL_TIM_SET_COMPARE(&htim20, TIM_CHANNEL_3, 0);
			  __HAL_TIM_SET_COMPARE(&htim5, TIM_CHANNEL_3, 0);
		  }

		  else
		  {
			  __HAL_TIM_SET_COMPARE(&htim20, TIM_CHANNEL_1, dutyCycleFixedSSCB);
			  __HAL_TIM_SET_COMPARE(&htim20, TIM_CHANNEL_3, dutyCycleValue - deadTimeARR);
			  __HAL_TIM_SET_COMPARE(&htim5, TIM_CHANNEL_3, dutyCycleValue + deadTimeARR);
		  }
	  }

    //HAL_GPIO_TogglePin(GPIOC, GPIO_PIN_8);

  }
}

/* USER CODE END 4 */

void Error_Handler(void)
{
  __disable_irq();
  while (1)
  {
  }
}
